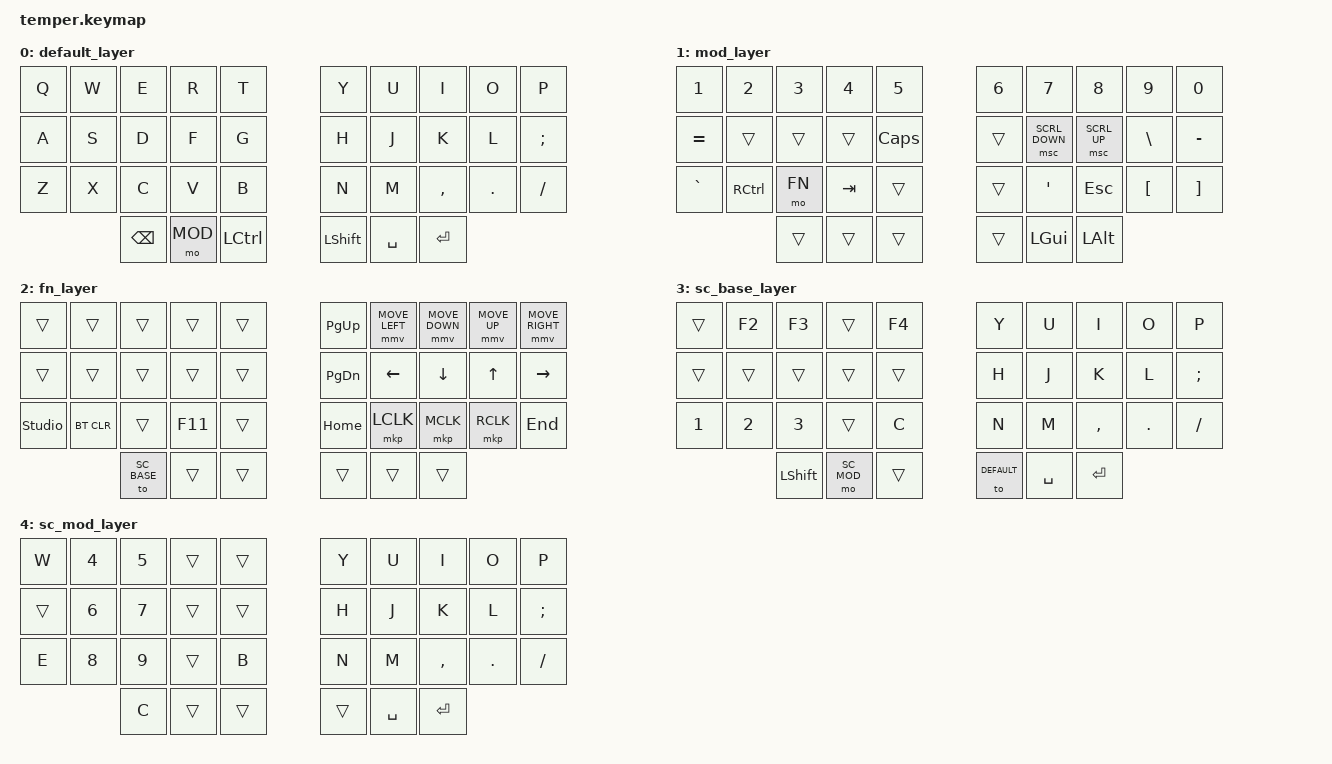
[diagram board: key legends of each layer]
/*
 * Copyright (c) 2020 The ZMK Contributors
 *
 * SPDX-License-Identifier: MIT
 */

#include <behaviors.dtsi>
#include <dt-bindings/zmk/keys.h>
#include <dt-bindings/zmk/bt.h>
#include <dt-bindings/zmk/outputs.h>
#include <dt-bindings/zmk/pointing.h>

#define DEFAULT 0
#define MOD 1
#define FN 2
#define SC_BASE 3
#define SC_MOD 4

# define ______ &trans

/ {
    conditional_layers {
        compatible = "zmk,conditional-layers";
    };
    behaviors {
        bspc_del: backspace_delete {
            compatible = "zmk,behavior-mod-morph";
            #binding-cells = <0>;
            bindings = <&kp BACKSPACE>, <&kp DELETE>;
            mods = <(MOD_LSFT|MOD_RSFT)>;
            keep-mods = <(MOD_RSFT)>;
        };
        super_bspc: super_backspace {
            compatible = "zmk,behavior-mod-morph";
            #binding-cells = <0>;
            bindings = <&kp BACKSPACE>, <&kp LA(BACKSPACE)>;
            mods = <(MOD_LSFT|MOD_RSFT)>;
        };
    };
        keymap {
                compatible = "zmk,keymap";

                default_layer {
                        bindings = <
// ╭─────────────┬─────────────┬─────────────┬─────────────┬─────────────╮   ╭─────────────┬─────────────┬─────────────┬─────────────┬─────────────╮
        &kp Q         &kp W         &kp E         &kp R         &kp T             &kp Y         &kp U         &kp I         &kp O         &kp P
// ├─────────────┼─────────────┼─────────────┼─────────────┼─────────────┤   ├─────────────┼─────────────┼─────────────┼─────────────┼─────────────┤
        &kp A         &kp S         &kp D         &kp F         &kp G             &kp H         &kp J         &kp K         &kp L       &kp SEMI
// ├─────────────┼─────────────┼─────────────┼─────────────┼─────────────┤   ├─────────────┼─────────────┼─────────────┼─────────────┼─────────────┤
        &kp Z         &kp X         &kp C         &kp V         &kp B             &kp N         &kp M       &kp COMMA      &kp DOT      &kp SLASH
// ╰─────────────┴─────────────┼─────────────┼─────────────┼─────────────┤   ├─────────────┼─────────────┼─────────────┼─────────────┴─────────────╯
                                   &kp BSPC      &mo MOD      &kp LCTRL         &kp LSHFT     &kp SPACE     &kp ENTER
//                             ╰─────────────┴─────────────┴─────────────╯   ╰─────────────┴─────────────┴─────────────╯
                        >;
                };
                mod_layer {
                        bindings = <
// ╭─────────────┬─────────────┬─────────────┬─────────────┬─────────────╮   ╭─────────────┬─────────────┬─────────────┬─────────────┬─────────────╮
       &kp N1        &kp N2         &kp N3        &kp N4        &kp N5            &kp N6        &kp N7        &kp N8        &kp N9        &kp N0
// ├─────────────┼─────────────┼─────────────┼─────────────┼─────────────┤   ├─────────────┼─────────────┼─────────────┼─────────────┼─────────────┤
      &kp EQUAL      ______         ______        ______       &kp CAPS          ______    &msc SCRL_DOWN &msc SCRL_UP    &kp BSLH      &kp MINUS
// ├─────────────┼─────────────┼─────────────┼─────────────┼─────────────┤   ├─────────────┼─────────────┼─────────────┼─────────────┼─────────────┤
      &kp GRAVE     &kp RCTRL      &mo FN        &kp TAB        ______           ______        &kp SQT       &kp ESC      &kp LBKT      &kp RBKT
// ╰─────────────┴─────────────┼─────────────┼─────────────┼─────────────┤   ├─────────────┼─────────────┼─────────────┼─────────────┴─────────────╯
                                    ______        ______        ______           ______       &kp LGUI       &kp LALT
//                             ╰─────────────┴─────────────┴─────────────╯   ╰─────────────┴─────────────┴─────────────╯
                        >;
                };
                fn_layer {
                        bindings = <
// ╭─────────────┬─────────────┬─────────────┬─────────────┬─────────────╮   ╭─────────────┬─────────────┬─────────────┬─────────────┬─────────────╮
        ______        ______        ______        ______        ______         &kp PG_UP  &mmv MOVE_LEFT &mmv MOVE_DOWN &mmv MOVE_UP &mmv MOVE_RIGHT
// ├─────────────┼─────────────┼─────────────┼─────────────┼─────────────┤   ├─────────────┼─────────────┼─────────────┼─────────────┼─────────────┤
        ______        ______        ______        ______        ______          &kp PG_DN     &kp LEFT      &kp DOWN       &kp UP       &kp RIGHT
// ├─────────────┼─────────────┼─────────────┼─────────────┼─────────────┤   ├─────────────┼─────────────┼─────────────┼─────────────┼─────────────┤
    &studio_unlock &bt BT_CLR       ______       &kp F11        ______          &kp HOME      &mkp LCLK     &mkp MCLK     &mkp RCLK      &kp END
// ╰─────────────┴─────────────┼─────────────┼─────────────┼─────────────┤   ├─────────────┼─────────────┼─────────────┼─────────────┴─────────────╯
                                 &to SC_BASE      ______        ______            ______        ______        ______
//                             ╰─────────────┴─────────────┴─────────────╯   ╰─────────────┴─────────────┴─────────────╯
                        >;
                };
                sc_base_layer {
                        bindings = <
// ╭─────────────┬─────────────┬─────────────┬─────────────┬─────────────╮   ╭─────────────┬─────────────┬─────────────┬─────────────┬─────────────╮
        ______       &kp F2         &kp F3        ______        &kp F4            &kp Y         &kp U         &kp I         &kp O         &kp P
// ├─────────────┼─────────────┼─────────────┼─────────────┼─────────────┤   ├─────────────┼─────────────┼─────────────┼─────────────┼─────────────┤
        ______        ______        ______        ______        ______            &kp H         &kp J         &kp K         &kp L       &kp SEMI
// ├─────────────┼─────────────┼─────────────┼─────────────┼─────────────┤   ├─────────────┼─────────────┼─────────────┼─────────────┼─────────────┤
        &kp N1        &kp N2        &kp N3        ______        &kp C             &kp N         &kp M       &kp COMMA      &kp DOT      &kp SLASH
// ╰─────────────┴─────────────┼─────────────┼─────────────┼─────────────┤   ├─────────────┼─────────────┼─────────────┼─────────────┴─────────────╯
                                  &kp LSHFT     &mo SC_MOD      ______         &to DEFAULT    &kp SPACE     &kp ENTER
//                             ╰─────────────┴─────────────┴─────────────╯   ╰─────────────┴─────────────┴─────────────╯
                        >;
                };
                sc_mod_layer {
                        bindings = <
// ╭─────────────┬─────────────┬─────────────┬─────────────┬─────────────╮   ╭─────────────┬─────────────┬─────────────┬─────────────┬─────────────╮
        &kp W         &kp N4        &kp N5        ______        ______            &kp Y         &kp U         &kp I         &kp O         &kp P
// ├─────────────┼─────────────┼─────────────┼─────────────┼─────────────┤   ├─────────────┼─────────────┼─────────────┼─────────────┼─────────────┤
        ______        &kp N6        &kp N7        ______        ______            &kp H         &kp J         &kp K         &kp L       &kp SEMI
// ├─────────────┼─────────────┼─────────────┼─────────────┼─────────────┤   ├─────────────┼─────────────┼─────────────┼─────────────┼─────────────┤
        &kp E         &kp N8        &kp N9        ______        &kp B             &kp N         &kp M       &kp COMMA      &kp DOT      &kp SLASH
// ╰─────────────┴─────────────┼─────────────┼─────────────┼─────────────┤   ├─────────────┼─────────────┼─────────────┼─────────────┴─────────────╯
                                    &kp C         ______        ______            ______      &kp SPACE     &kp ENTER
//                             ╰─────────────┴─────────────┴─────────────╯   ╰─────────────┴─────────────┴─────────────╯
                        >;
                };
        };
};
